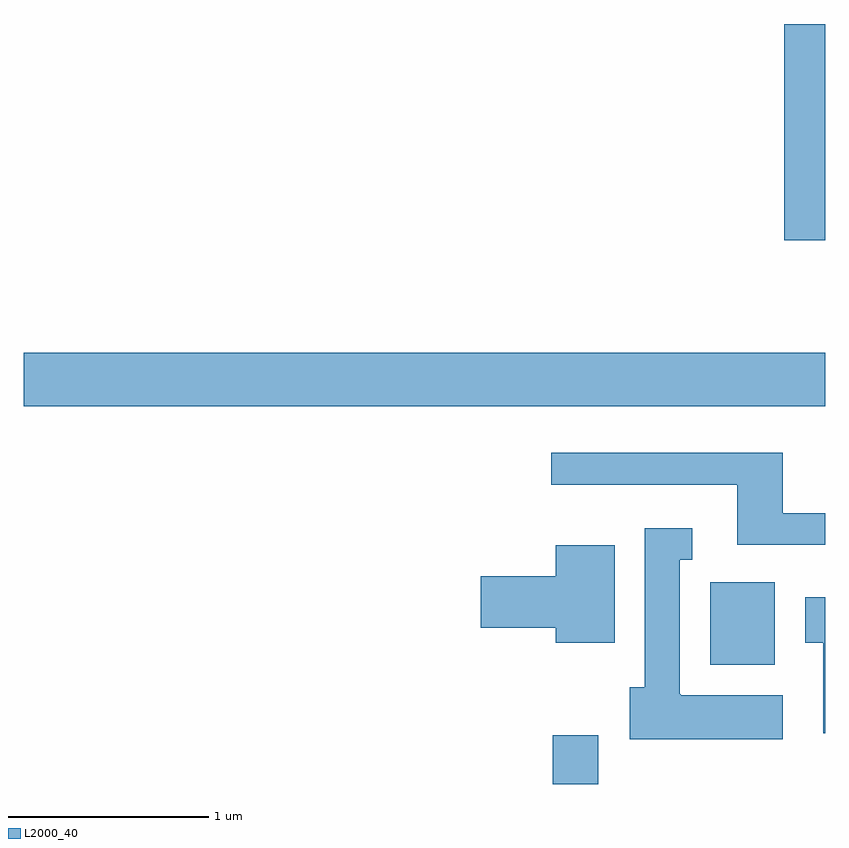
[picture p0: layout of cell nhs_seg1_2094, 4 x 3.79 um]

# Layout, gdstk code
import gdstk
lib = gdstk.Library(unit=1e-6, precision=1e-09)
def R(c, l, rs):  # rectangles x0, y0, x1, y1
    for r in rs: c.add(gdstk.rectangle(r[:2], r[2:], *l))
def P(c, l, *ps):  # polygons
    for p in ps: c.add(gdstk.Polygon(p, *l))
L2000_40 = (2000, 40)

nhs_seg1_2094 = lib.new_cell('nhs_seg1_2094')
R(nhs_seg1_2094, L2000_40, [(252.251,877.712,252.479,877.954), (253.036,878.306,253.359,878.719), (249.611,879.596,253.611,879.864), (253.406,880.426,253.611,881.504)])
P(nhs_seg1_2094, L2000_40, [(253.611,879.064),(253.399,879.064),(253.399,879.364),(252.243,879.364),(252.243,879.206),(253.171,879.206),(253.171,878.906),(253.611,878.906)],
  [(253.399,878.154),(252.89,878.154),(252.89,878.16),(252.884,878.16),(252.884,878.831),(252.948,878.831),(252.948,878.989),(252.711,878.989),(252.711,878.194),(252.636,878.194),(252.636,877.936),(253.399,877.936)],
  [(252.559,878.904),(252.266,878.904),(252.266,878.749),(251.891,878.749),(251.891,878.491),(252.266,878.491),(252.266,878.416),(252.559,878.416)],
  [(253.611,878.644),(253.511,878.644),(253.511,878.416),(253.601,878.416),(253.601,877.966),(253.611,877.966)])

lib.write_gds('nhs_seg1_2094.gds')
